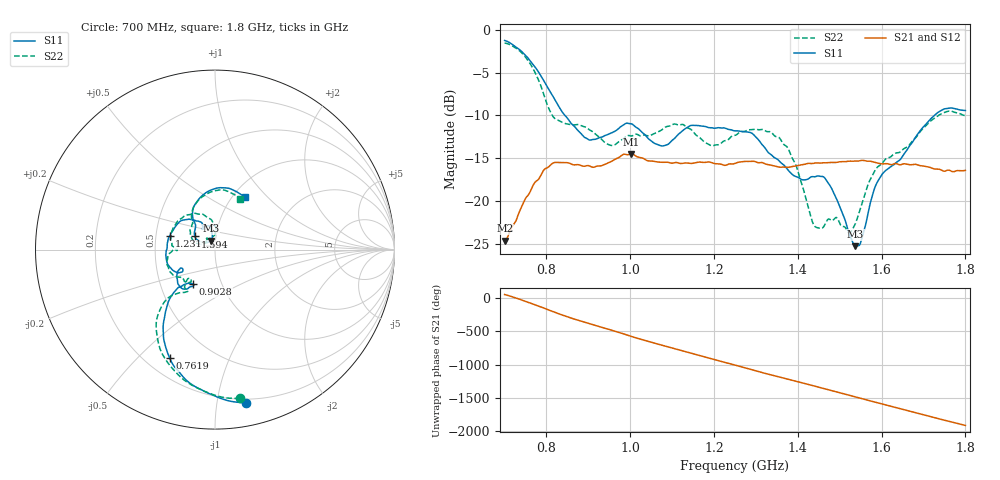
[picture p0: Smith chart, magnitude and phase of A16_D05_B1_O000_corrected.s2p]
! Created with skrf 1.9.0 (http://scikit-rf.org).
# Hz S RI R 50.0
!freq ReS11 ImS11 ReS21 ImS21 ReS12 ImS12 ReS22 ImS22
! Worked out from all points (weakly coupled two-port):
!   1601 points, 700 MHz to 1.8 GHz, reference 50 ohm
!   highest |S21| = -14.51 dB at 1.002 GHz (marker M1); lowest = -24.7 dB at 700.7 MHz (marker M2)
!   lowest |S11| = -25.3 dB at 1.537 GHz (marker M3), VSWR 1.11, Z = 47.6 + j4.7 ohm
!   |S11| at or under -10 dB: 844.1 MHz to 1.726 GHz (881.6 MHz wide, 68.6 % of centre)
!   |S22| runs from -23.8 to -1.5 dB; largest |S21 - S12| = 0.0035
!   S11 on the Smith chart (normalised r, x): 700 MHz: 0.17, -1.20; 761.9 MHz: 0.29, -0.63; 902.8 MHz: 0.73, -0.29; 1.231 GHz: 0.59, +0.09; 1.594 GHz: 0.79, +0.12; 1.8 GHz: 1.13, +0.75
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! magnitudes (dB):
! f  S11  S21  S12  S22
! 700 MHz  -1.2  -24.7  -24.4  -1.5
! 700.7 MHz  -1.2  -24.7  -24.3  -1.5
! 761.9 MHz  -3.7  -18.8  -18.8  -4.0
! 816.9 MHz  -7.9  -15.5  -15.6  -10.2
! 883.6 MHz  -12.2  -15.9  -15.8  -11.2
! 902.8 MHz  -12.9  -15.9  -15.9  -11.7
! 954.4 MHz  -12.1  -15.4  -15.4  -13.5
! 1.002 GHz  -11.0  -14.5  -14.6  -12.4
! 1.067 GHz  -13.4  -15.5  -15.4  -11.9
! 1.145 GHz  -11.2  -15.6  -15.6  -11.7
! 1.231 GHz  -11.6  -15.8  -15.7  -12.9
! 1.25 GHz  -11.8  -15.6  -15.6  -12.3
! 1.357 GHz  -15.4  -16.1  -16.0  -12.7
! 1.395 GHz  -17.1  -15.9  -15.9  -15.8
! 1.434 GHz  -17.2  -15.6  -15.6  -22.3
! 1.476 GHz  -18.1  -15.5  -15.5  -22.1
! 1.537 GHz  -25.3  -15.3  -15.3  -22.7
! 1.551 GHz  -24.7  -15.3  -15.3  -20.6
! 1.594 GHz  -17.5  -15.6  -15.6  -15.9
! 1.617 GHz  -16.2  -15.7  -15.7  -14.9
! 1.733 GHz  -9.7  -16.3  -16.3  -10.1
! 1.8 GHz  -9.4  -16.4  -16.4  -10.0
